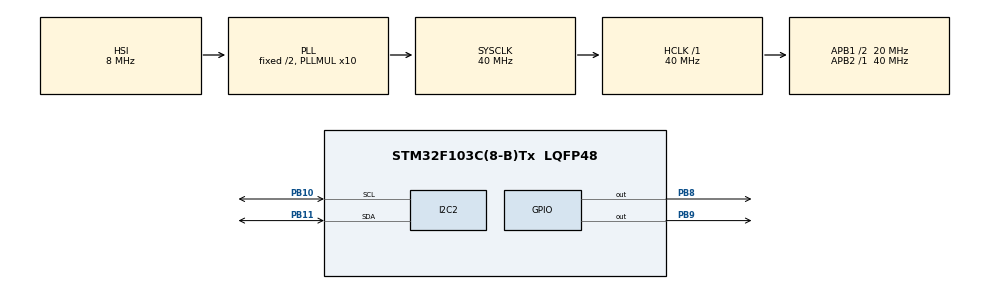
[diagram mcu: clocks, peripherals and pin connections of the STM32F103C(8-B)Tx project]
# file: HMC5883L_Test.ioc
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Mcu.Family=STM32F1
Mcu.Name=STM32F103C(8-B)Tx
Mcu.Package=LQFP48
NVIC.PriorityGroup=NVIC_PRIORITYGROUP_4
NVIC.TIM4_IRQn=true\:0\:0\:false\:false\:true\:true\:true\:true
PA13.Mode=Serial_Wire
PA13.Signal=SYS_JTMS-SWDIO
PA14.Mode=Serial_Wire
PA14.Signal=SYS_JTCK-SWCLK
PB10.Mode=I2C
PB10.Signal=I2C2_SCL
PB11.Mode=I2C
PB11.Signal=I2C2_SDA
PB8.GPIO_ModeDefaultOutputPP=GPIO_MODE_OUTPUT_OD
PB8.GPIO_PuPd=GPIO_NOPULL
PB8.GPIO_Speed=GPIO_SPEED_FREQ_HIGH
PB8.PinState=GPIO_PIN_RESET
PB8.Signal=GPIO_Output
PB9.GPIO_ModeDefaultOutputPP=GPIO_MODE_OUTPUT_OD
PB9.GPIO_PuPd=GPIO_NOPULL
PB9.GPIO_Speed=GPIO_SPEED_FREQ_HIGH
PB9.PinState=GPIO_PIN_RESET
PB9.Signal=GPIO_Output
ProjectManager.HeapSize=0x200
ProjectManager.StackSize=0x400
ProjectManager.TargetToolchain=MDK-ARM V5.32
RCC.AHBFreq_Value=40000000
RCC.APB1CLKDivider=RCC_HCLK_DIV2
RCC.APB1Freq_Value=20000000
RCC.APB1TimFreq_Value=40000000
RCC.APB2Freq_Value=40000000
RCC.APB2TimFreq_Value=40000000
RCC.HCLKFreq_Value=40000000
RCC.PLLMUL=RCC_PLL_MUL10
RCC.SYSCLKFreq_VALUE=40000000
RCC.SYSCLKSource=RCC_SYSCLKSOURCE_PLLCLK
RCC.USBFreq_Value=40000000
TIM4.Period=20000-1
TIM4.Prescaler=40-1
VP_TIM4_VS_ClockSourceINT.Mode=Internal
board=custom

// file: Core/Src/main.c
/* USER CODE BEGIN Header */
/**
  ******************************************************************************
  * @file           : main.c
  * @brief          : Main program body
  ******************************************************************************
  * @attention
  *
  * Copyright (c) 2026 STMicroelectronics.
  * All rights reserved.
  *
  * This software is licensed under terms that can be found in the LICENSE file
  * in the root directory of this software component.
  * If no LICENSE file comes with this software, it is provided AS-IS.
  *
  ******************************************************************************
  */
/* USER CODE END Header */
#include "main.h"
#include "i2c.h"
#include "tim.h"
#include "gpio.h"

/* USER CODE BEGIN Includes */
#include "OLED.h"
#include "HMC5883L.h"
#include "stdio.h"
#include "stdint.h"
/* USER CODE END Includes */

/* USER CODE BEGIN PD */
#define HMC_CAL_SAMPLE_COUNT 1500U
#define HMC_CAL_SAMPLE_DELAY_MS 20U
#define OLED_PAGE_SWITCH_MS 2000U

/* USER CODE END PD */

/* USER CODE BEGIN PV */
volatile uint8_t hmc_update_flag = 0;
HMC5883L_Calib_t hmc_calib = {0.0f, 0.0f, 0.0f, 1.0f, 1.0f, 1.0f};
/* USER CODE END PV */

void SystemClock_Config(void);
/* USER CODE BEGIN PFP */
static void FormatSignedFixed2(char *buffer, size_t buffer_size, float value);
static void OLED_ShowLabelValue(uint8_t line, const char *label, float value);
static void OLED_ShowCalibrationPage(uint8_t page);

/* USER CODE END PFP */

/* USER CODE BEGIN 0 */
static void FormatSignedFixed2(char *buffer, size_t buffer_size, float value)
{
	int32_t scaled;
	int32_t integer_part;
	int32_t fraction_part;

	scaled = (int32_t)(value * 100.0f + ((value >= 0.0f) ? 0.5f : -0.5f));
	integer_part = scaled / 100;
	fraction_part = scaled % 100;
	if (fraction_part < 0)
	{
		fraction_part = -fraction_part;
	}

	snprintf(buffer, buffer_size, "%ld.%02ld", (long)integer_part, (long)fraction_part);
}

static void OLED_ShowLabelValue(uint8_t line, const char *label, float value)
{
	char text[16];
	char value_text[12];

	FormatSignedFixed2(value_text, sizeof(value_text), value);
	snprintf(text, sizeof(text), "%s%s", label, value_text);
	OLED_ClearLine(line);
	OLED_ShowString(line, 1, text);
}

static void OLED_ShowCalibrationPage(uint8_t page)
{
	if (page == 0U)
	{
		OLED_ShowLabelValue(1, "Ox:", hmc_calib.offset_x);
		OLED_ShowLabelValue(2, "Oy:", hmc_calib.offset_y);
		OLED_ShowLabelValue(3, "Oz:", hmc_calib.offset_z);
	}
	else
	{
		OLED_ShowLabelValue(1, "Sx:", hmc_calib.scale_x);
		OLED_ShowLabelValue(2, "Sy:", hmc_calib.scale_y);
		OLED_ShowLabelValue(3, "Sz:", hmc_calib.scale_z);
	}
}

void HAL_TIM_PeriodElapsedCallback(TIM_HandleTypeDef *htim)
{
	if(htim->Instance == TIM4)
	{
		hmc_update_flag = 1;
	}
}
/* USER CODE END 0 */

int main(void)
{

  /* MCU Configuration--------------------------------------------------------*/

  /* Reset of all peripherals, Initializes the Flash interface and the Systick. */
  HAL_Init();

  /* Configure the system clock */
  SystemClock_Config();

  /* Initialize all configured peripherals */
  MX_GPIO_Init();
  MX_I2C2_Init();
  MX_TIM4_Init();
  /* USER CODE BEGIN 2 */
	OLED_Init();
	OLED_ShowString(1,1,"Calibrating...");
	OLED_ShowString(2,1,"Rotate sensor");
	OLED_ShowString(3,1,"all directions");
	if (HMC5883L_Init() != HAL_OK)
	{
		OLED_Clear();
		OLED_ShowString(1,1,"HMC Init Fail");
		while (1)
		{
		}
	}

	if (HMC5883L_Calibrate(&hmc_calib, HMC_CAL_SAMPLE_COUNT, HMC_CAL_SAMPLE_DELAY_MS) != HAL_OK)
	{
		OLED_Clear();
		OLED_ShowString(1,1,"Calib Failed");
		OLED_ShowString(2,1,"Move sensor");
		OLED_ShowString(3,1,"more widely");
		while (1)
		{
		}
	}

	OLED_Clear();
	OLED_ShowString(1,1,"Cal Done");
	OLED_ShowString(2,1,"Showing vals");
	HAL_Delay(1500);
	HAL_TIM_Base_Start_IT(&htim4);
  /* USER CODE END 2 */

  /* Infinite loop */
  /* USER CODE BEGIN WHILE */
  while (1)
  {
		uint8_t page;

		if (hmc_update_flag)
		{
			float hmc_x_cal;
			float hmc_y_cal;

			hmc_update_flag = 0;
			if (HMC5883L_GetData(&hmc_x, &hmc_y, &hmc_z) == HAL_OK)
			{
				hmc_x_cal = ((float)hmc_x - hmc_calib.offset_x) * hmc_calib.scale_x;
				hmc_y_cal = ((float)hmc_y - hmc_calib.offset_y) * hmc_calib.scale_y;
//				hmc_x_cal = ((float)hmc_x+15) * 1.05;
//				hmc_y_cal = ((float)hmc_y+285) * 1.00;
				yaw_hmc = atan2f(hmc_y_cal, hmc_x_cal) * 57.2957795f;
			}
		}

		page = ((HAL_GetTick() / OLED_PAGE_SWITCH_MS) % 2U == 0U) ? 0U : 1U;
		OLED_ShowCalibrationPage(page);
		OLED_ShowLabelValue(4, "Yaw:", yaw_hmc);
		HAL_Delay(120);
    /* USER CODE END WHILE */

  }
}

void SystemClock_Config(void)
{
  RCC_OscInitTypeDef RCC_OscInitStruct = {0};
  RCC_ClkInitTypeDef RCC_ClkInitStruct = {0};

  /** Initializes the RCC Oscillators according to the specified parameters
  * in the RCC_OscInitTypeDef structure.
  */
  RCC_OscInitStruct.OscillatorType = RCC_OSCILLATORTYPE_HSI;
  RCC_OscInitStruct.HSIState = RCC_HSI_ON;
  RCC_OscInitStruct.HSICalibrationValue = RCC_HSICALIBRATION_DEFAULT;
  RCC_OscInitStruct.PLL.PLLState = RCC_PLL_ON;
  RCC_OscInitStruct.PLL.PLLSource = RCC_PLLSOURCE_HSI_DIV2;
  RCC_OscInitStruct.PLL.PLLMUL = RCC_PLL_MUL10;
  if (HAL_RCC_OscConfig(&RCC_OscInitStruct) != HAL_OK)
  {
    Error_Handler();
  }

  /** Initializes the CPU, AHB and APB buses clocks
  */
  RCC_ClkInitStruct.ClockType = RCC_CLOCKTYPE_HCLK|RCC_CLOCKTYPE_SYSCLK
                              |RCC_CLOCKTYPE_PCLK1|RCC_CLOCKTYPE_PCLK2;
  RCC_ClkInitStruct.SYSCLKSource = RCC_SYSCLKSOURCE_PLLCLK;
  RCC_ClkInitStruct.AHBCLKDivider = RCC_SYSCLK_DIV1;
  RCC_ClkInitStruct.APB1CLKDivider = RCC_HCLK_DIV2;
  RCC_ClkInitStruct.APB2CLKDivider = RCC_HCLK_DIV1;

  if (HAL_RCC_ClockConfig(&RCC_ClkInitStruct, FLASH_LATENCY_1) != HAL_OK)
  {
    Error_Handler();
  }
}

void Error_Handler(void)
{
  __disable_irq();
  while (1)
  {
  }
}
